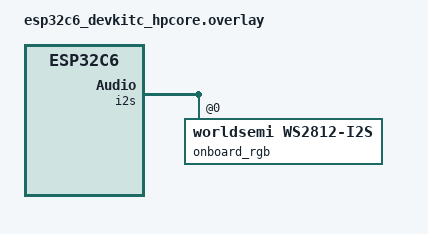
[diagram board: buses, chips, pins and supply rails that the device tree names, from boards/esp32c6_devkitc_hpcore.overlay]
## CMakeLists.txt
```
# SPDX-License-Identifier: Apache-2.0

cmake_minimum_required(VERSION 3.20.0)

find_package(Zephyr REQUIRED HINTS $ENV{ZEPHYR_BASE})
project(waveshare_esp32c6_diagnostic)

target_sources(app PRIVATE src/main.c)
```

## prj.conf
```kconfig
CONFIG_GPIO=y
CONFIG_I2S=y
CONFIG_LED_STRIP=y
CONFIG_SERIAL=y
CONFIG_CONSOLE=y
CONFIG_UART_CONSOLE=y
CONFIG_PRINTK=y
CONFIG_MAIN_STACK_SIZE=2048
```

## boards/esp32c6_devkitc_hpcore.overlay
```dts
/*
 * Waveshare ESP32-C6-DEV-KIT-N16 application overlay.
 *
 * The connected board reports a 16 MiB SPI flash device. The upstream
 * esp32c6_devkitc board definition uses the WROOM-N8 8 MiB description.
 *
 * The on-board addressable RGB LED is a single WS2812B connected to GPIO8.
 */

#include <zephyr/dt-bindings/led/led.h>

/ {
	aliases {
		led-strip = &onboard_rgb;
	};
};

&flash0 {
	reg = <0x0 DT_SIZE_M(16)>;
};

&i2s_default {
	group1 {
		pinmux = <I2S_O_SD_GPIO8>;
	};
};

i2s_rgb: &i2s {
	status = "okay";

	dmas = <&dma 3>;
	dma-names = "tx";

	onboard_rgb: ws2812@0 {
		compatible = "worldsemi,ws2812-i2s";
		reg = <0>;
		chain-length = <1>;
		color-mapping = <LED_COLOR_ID_GREEN
				 LED_COLOR_ID_RED
				 LED_COLOR_ID_BLUE>;
		reset-delay = <500>;
	};
};

&dma {
	status = "okay";
};
```

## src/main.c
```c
/*
 * Waveshare ESP32-C6-DEV-KIT diagnostic starter.
 *
 * SPDX-License-Identifier: Apache-2.0
 */

#include <stdbool.h>
#include <zephyr/device.h>
#include <zephyr/devicetree.h>
#include <zephyr/drivers/gpio.h>
#include <zephyr/drivers/led_strip.h>
#include <zephyr/kernel.h>
#include <zephyr/sys/printk.h>

#define RGB_NODE DT_ALIAS(led_strip)
#define BUTTON_NODE DT_ALIAS(sw0)

static const struct device *const rgb = DEVICE_DT_GET(RGB_NODE);
static const struct gpio_dt_spec boot_button = GPIO_DT_SPEC_GET(BUTTON_NODE, gpios);

static const struct led_rgb colors[] = {
	{.r = 32, .g = 0, .b = 0},
	{.r = 0, .g = 32, .b = 0},
	{.r = 0, .g = 0, .b = 32},
	{.r = 16, .g = 16, .b = 16},
};

int main(void)
{
	struct led_rgb pixel = {0};
	bool previous_pressed = false;
	size_t color = 0;
	int ret;

	printk("\nWaveshare ESP32-C6 Zephyr diagnostic\n");
	printk("Board: %s\n", CONFIG_BOARD_TARGET);
	printk("Flash devicetree size: 16 MiB\n");
	printk("UART0: GPIO16 TX / GPIO17 RX, 115200 baud\n");
	printk("RGB: WS2812 on GPIO8; BOOT button: GPIO9\n");

	if (!device_is_ready(rgb)) {
		printk("ERROR: RGB LED device is not ready\n");
		return 0;
	}

	if (!gpio_is_ready_dt(&boot_button)) {
		printk("ERROR: BOOT button GPIO is not ready\n");
		return 0;
	}

	ret = gpio_pin_configure_dt(&boot_button, GPIO_INPUT);
	if (ret != 0) {
		printk("ERROR: cannot configure BOOT button (%d)\n", ret);
		return 0;
	}

	printk("Diagnostic running. Press BOOT to test the button.\n");

	while (true) {
		pixel = colors[color];
		ret = led_strip_update_rgb(rgb, &pixel, 1);
		if (ret != 0) {
			printk("ERROR: RGB update failed (%d)\n", ret);
		} else {
			printk("RGB step %u: R=%u G=%u B=%u\n",
			       (unsigned int)color, pixel.r, pixel.g, pixel.b);
		}

		for (int sample = 0; sample < 10; sample++) {
			const int state = gpio_pin_get_dt(&boot_button);

			if (state < 0) {
				printk("ERROR: BOOT button read failed (%d)\n", state);
				break;
			}

			const bool pressed = state != 0;
			if (pressed && !previous_pressed) {
				printk("BOOT button pressed\n");
			}
			previous_pressed = pressed;
			k_sleep(K_MSEC(100));
		}

		color = (color + 1) % ARRAY_SIZE(colors);
	}

	return 0;
}
```
